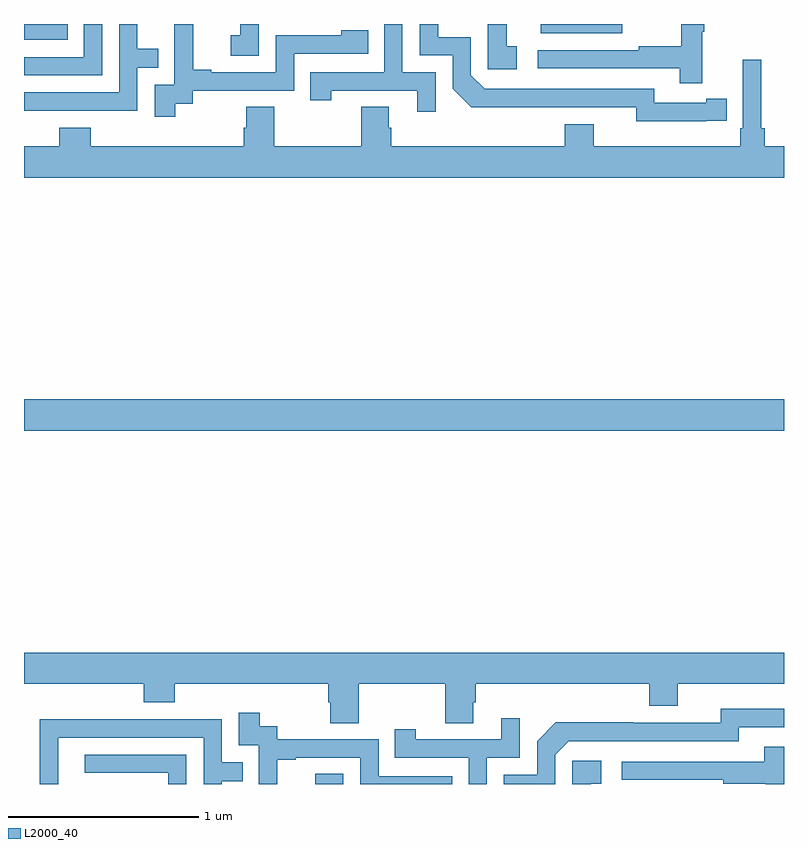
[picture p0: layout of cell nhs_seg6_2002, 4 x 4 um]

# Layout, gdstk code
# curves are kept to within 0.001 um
import gdstk
lib = gdstk.Library(unit=1e-6, precision=1e-09)
def R(c, l, rs):  # rectangles x0, y0, x1, y1
    for r in rs: c.add(gdstk.rectangle(r[:2], r[2:], *l))
def P(c, l, *ps):  # polygons
    for p in ps: c.add(gdstk.Polygon(p, *l))
L2000_40 = (2000, 40)

nhs_seg6_2002 = lib.new_cell('nhs_seg6_2002')
R(nhs_seg6_2002, L2000_40, [(232.533,921.5,232.68,921.553), (231,923.36,235,923.524), (231,925.418,231.23,925.5), (233.72,925.451,234.148,925.5)])
P(nhs_seg6_2002, L2000_40, [(231.796,925.081),(231.888,925.081),(231.888,925.149),(232.422,925.149),(232.422,925.344),(232.811,925.344),(232.811,925.467),(232.671,925.467),(232.671,925.44),(232.326,925.44),(232.326,925.245),(231.985,925.245),(231.985,925.258),(231.89,925.258),(231.89,925.5),(231.791,925.5),(231.791,925.409),(231.792,925.409),(231.792,925.179),(231.687,925.179),(231.687,925.011),(231.796,925.011)],
  [(233.166,925.245),(232.992,925.245),(232.992,925.5),(232.896,925.5),(232.896,925.245),(232.507,925.245),(232.507,925.098),(232.618,925.098),(232.618,925.149),(233.069,925.149),(233.069,925.038),(233.166,925.038)],
  [(232.236,925.5),(232.138,925.5),(232.138,925.441),(232.089,925.441),(232.089,925.332),(232.236,925.332)],
  [(234.59,924.99),(234.698,924.99),(234.698,925.106),(234.59,925.106),(234.59,925.086),(234.318,925.086),(234.318,925.158),(233.424,925.158),(233.352,925.23),(233.352,925.431),(233.179,925.431),(233.179,925.5),(233.082,925.5),(233.082,925.335),(233.256,925.335),(233.256,925.158),(233.354,925.061),(234.222,925.062),(234.222,924.989)],
  [(233.593,925.383),(233.54,925.383),(233.54,925.5),(233.442,925.5),(233.442,925.263),(233.593,925.263)],
  [(231.101,925.044),(231.597,925.044),(231.597,925.269),(231.707,925.269),(231.707,925.37),(231.597,925.37),(231.597,925.5),(231.501,925.5),(231.501,925.14),(231,925.14),(231,925.043),(231.101,925.043)],
  [(234.569,925.459),(234.58,925.459),(234.58,925.5),(234.459,925.5),(234.459,925.382),(234.235,925.382),(234.235,925.362),(233.703,925.362),(233.703,925.266),(234.451,925.266),(234.451,925.188),(234.569,925.188)],
  [(231.411,925.5),(231.315,925.5),(231.315,925.326),(231,925.326),(231,925.23),(231.411,925.23)],
  [(235,924.856),(234.899,924.856),(234.899,924.952),(234.88,924.952),(234.88,925.312),(234.783,925.312),(234.783,924.952),(234.77,924.952),(234.77,924.856),(233.998,924.856),(233.998,924.973),(233.846,924.973),(233.846,924.856),(232.934,924.856),(232.934,924.954),(232.921,924.954),(232.921,925.064),(232.774,925.064),(232.774,924.856),(232.317,924.856),(232.317,925.064),(232.169,925.064),(232.169,924.954),(232.157,924.954),(232.157,924.856),(231.35,924.856),(231.35,924.955),(231.185,924.955),(231.185,924.856),(231,924.856),(231,924.692),(235,924.692)],
  [(231,922.028),(231.629,922.028),(231.629,921.929),(231.794,921.929),(231.794,922.028),(232.601,922.028),(232.601,921.93),(232.613,921.93),(232.613,921.82),(232.761,921.82),(232.761,922.028),(233.218,922.028),(233.218,921.82),(233.365,921.82),(233.365,921.93),(233.378,921.93),(233.378,922.028),(234.29,922.028),(234.29,921.911),(234.442,921.911),(234.442,922.028),(235,922.028),(235,922.192),(231,922.192)],
  [(233.796,921.654),(233.868,921.726),(234.762,921.726),(234.762,921.798),(235,921.798),(235,921.895),(234.666,921.895),(234.666,921.822),(234.206,921.822),(234.206,921.824),(233.798,921.824),(233.7,921.726),(233.7,921.549),(233.526,921.549),(233.526,921.5),(233.796,921.5)],
  [(232.334,921.627),(232.429,921.627),(232.429,921.639),(232.77,921.639),(232.77,921.5),(233.255,921.5),(233.255,921.54),(232.866,921.54),(232.866,921.735),(232.332,921.735),(232.332,921.804),(232.24,921.804),(232.24,921.874),(232.131,921.874),(232.131,921.705),(232.236,921.705),(232.236,921.5),(232.334,921.5)],
  [(233.436,921.639),(233.61,921.639),(233.61,921.847),(233.513,921.847),(233.513,921.735),(233.062,921.735),(233.062,921.787),(232.951,921.787),(232.951,921.639),(233.34,921.639),(233.34,921.5),(233.436,921.5)],
  [(231.18,921.744),(231.945,921.744),(231.945,921.5),(232.041,921.5),(232.041,921.514),(232.151,921.514),(232.151,921.615),(232.041,921.615),(232.041,921.84),(231.545,921.84),(231.545,921.842),(231.082,921.842),(231.082,921.535),(231.084,921.535),(231.084,921.5),(231.18,921.5)],
  [(235,921.697),(234.895,921.697),(234.895,921.618),(234.147,921.618),(234.147,921.522),(234.679,921.522),(234.679,921.502),(234.903,921.502),(234.903,921.5),(235,921.5)],
  [(231.855,921.654),(231.321,921.654),(231.321,921.558),(231.759,921.558),(231.759,921.5),(231.855,921.5)],
  [(233.984,921.501),(234.037,921.501),(234.037,921.622),(233.886,921.622),(233.886,921.5),(233.984,921.5)])

lib.write_gds('nhs_seg6_2002.gds')
